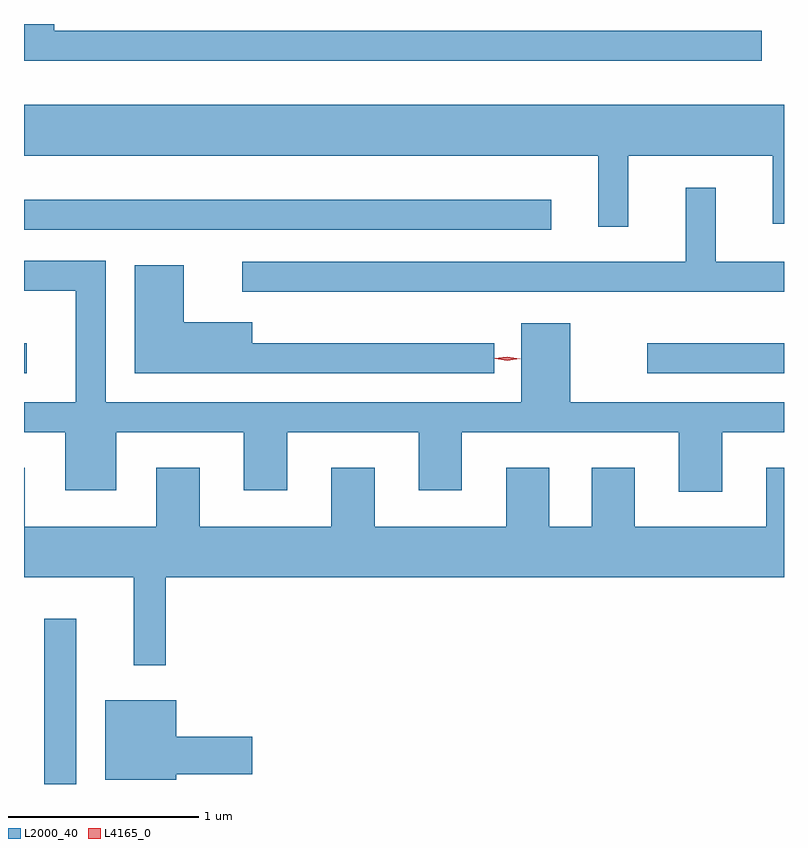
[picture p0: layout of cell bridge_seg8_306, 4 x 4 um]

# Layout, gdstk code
import gdstk
lib = gdstk.Library(unit=1e-6, precision=1e-09)
def R(c, l, rs):  # rectangles x0, y0, x1, y1
    for r in rs: c.add(gdstk.rectangle(r[:2], r[2:], *l))
def P(c, l, *ps):  # polygons
    for p in ps: c.add(gdstk.Polygon(p, *l))
L2000_40 = (2000, 40)
L4165_0 = (4165, 0)

bridge_seg8_306 = lib.new_cell('bridge_seg8_306')
R(bridge_seg8_306, L2000_40, [(964.051,1910.809,964.219,1911.678), (963.944,1912.971,963.958,1913.129), (967.223,1912.971,967.944,1913.129), (963.944,1913.726,966.718,1913.884)])
P(bridge_seg8_306, L2000_40, [(967.828,1914.774),(964.104,1914.774),(964.104,1914.809),(963.946,1914.809),(963.946,1914.616),(967.828,1914.616)],
  [(967.124,1914.116),(967.886,1914.116),(967.886,1913.758),(967.944,1913.758),(967.944,1914.384),(963.944,1914.384),(963.944,1914.116),(966.966,1914.116),(966.966,1913.743),(967.124,1913.743)],
  [(967.944,1913.559),(967.584,1913.559),(967.584,1913.948),(967.426,1913.948),(967.426,1913.559),(965.093,1913.559),(965.093,1913.401),(967.944,1913.401)],
  [(967.619,1912.661),(967.944,1912.661),(967.944,1912.819),(966.819,1912.819),(966.819,1913.234),(966.561,1913.234),(966.561,1912.819),(964.374,1912.819),(964.374,1913.564),(963.944,1913.564),(963.944,1913.406),(964.216,1913.406),(964.216,1912.819),(963.944,1912.819),(963.944,1912.661),(964.161,1912.661),(964.161,1912.356),(964.429,1912.356),(964.429,1912.661),(965.101,1912.661),(965.101,1912.356),(965.329,1912.356),(965.329,1912.661),(966.021,1912.661),(966.021,1912.356),(966.249,1912.356),(966.249,1912.661),(967.391,1912.661),(967.391,1912.346),(967.619,1912.346)],
  [(966.418,1913.129),(965.144,1913.129),(965.144,1913.239),(964.784,1913.239),(964.784,1913.539),(964.526,1913.539),(964.526,1912.971),(966.418,1912.971)],
  [(964.689,1911.896),(967.944,1911.896),(967.944,1912.474),(967.851,1912.474),(967.851,1912.164),(967.159,1912.164),(967.159,1912.474),(966.931,1912.474),(966.931,1912.164),(966.709,1912.164),(966.709,1912.474),(966.481,1912.474),(966.481,1912.164),(965.789,1912.164),(965.789,1912.474),(965.561,1912.474),(965.561,1912.164),(964.869,1912.164),(964.869,1912.474),(964.641,1912.474),(964.641,1912.164),(963.949,1912.164),(963.949,1912.474),(963.944,1912.474),(963.944,1911.896),(964.521,1911.896),(964.521,1911.433),(964.689,1911.433)],
  [(964.744,1910.861),(965.144,1910.861),(965.144,1911.059),(964.744,1911.059),(964.744,1911.249),(964.371,1911.249),(964.371,1910.831),(964.744,1910.831)])
P(bridge_seg8_306, L4165_0, [(966.488,1913.039),(966.419,1913.049),(966.419,1913.049),(966.419,1913.05),(966.488,1913.058),(966.556,1913.048),(966.556,1913.048),(966.556,1913.048)],
  [(966.488,1913.036),(966.423,1913.046),(966.422,1913.047),(966.423,1913.047),(966.488,1913.056),(966.554,1913.047),(966.554,1913.046),(966.554,1913.046)])

lib.write_gds('bridge_seg8_306.gds')
